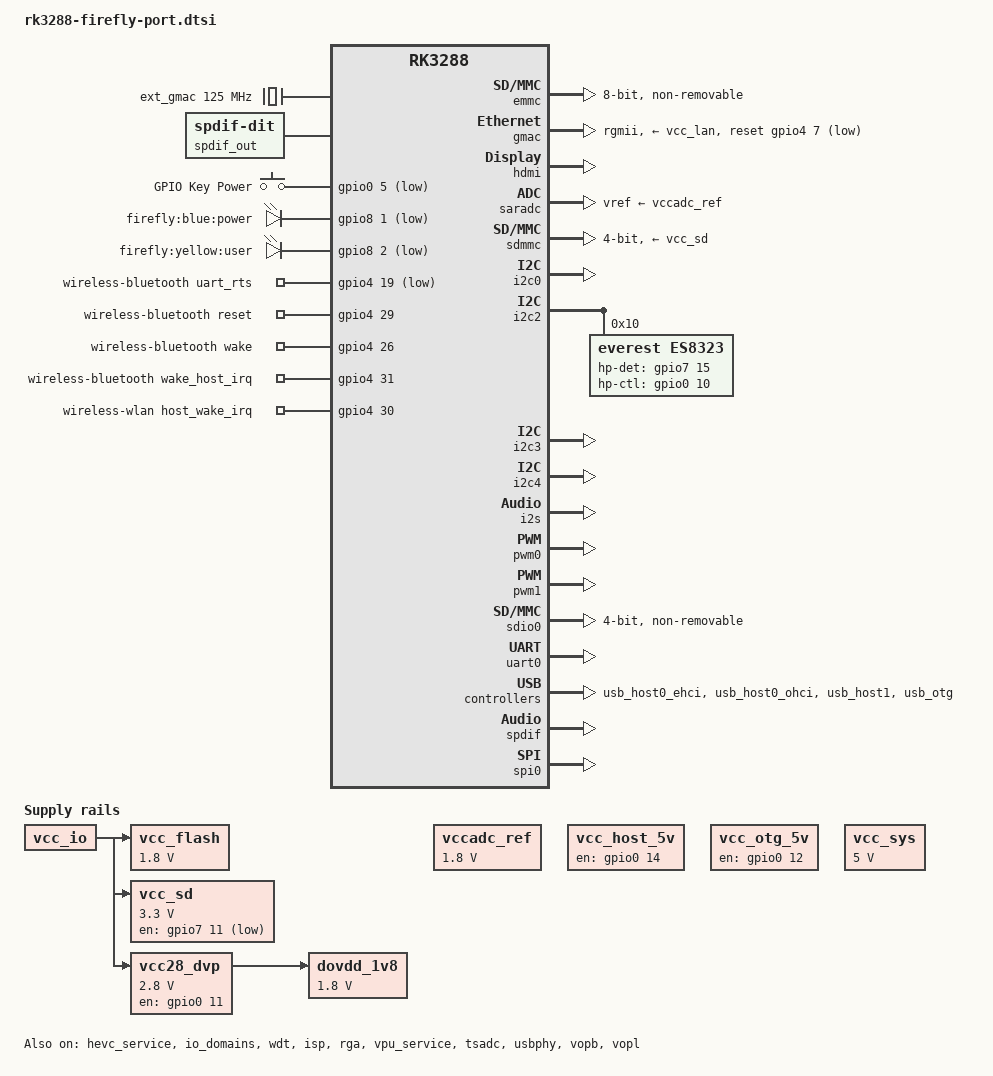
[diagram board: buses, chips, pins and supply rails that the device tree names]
/*
 * Copyright (c) 2015~2017 Fuzhou Rockchip Electronics Co., Ltd
 *
 * This file is dual-licensed: you can use it either under the terms
 * of the GPL or the X11 license, at your option. Note that this dual
 * licensing only applies to this file, and not this project as a
 * whole.
 *
 *  a) This file is free software; you can redistribute it and/or
 *     modify it under the terms of the GNU General Public License as
 *     published by the Free Software Foundation; either version 2 of the
 *     License, or (at your option) any later version.
 *
 *     This file is distributed in the hope that it will be useful,
 *     but WITHOUT ANY WARRANTY; without even the implied warranty of
 *     MERCHANTABILITY or FITNESS FOR A PARTICULAR PURPOSE.  See the
 *     GNU General Public License for more details.
 *
 * Or, alternatively,
 *
 *  b) Permission is hereby granted, free of charge, to any person
 *     obtaining a copy of this software and associated documentation
 *     files (the "Software"), to deal in the Software without
 *     restriction, including without limitation the rights to use,
 *     copy, modify, merge, publish, distribute, sublicense, and/or
 *     sell copies of the Software, and to permit persons to whom the
 *     Software is furnished to do so, subject to the following
 *     conditions:
 *
 *     The above copyright notice and this permission notice shall be
 *     included in all copies or substantial portions of the Software.
 *
 *     THE SOFTWARE IS PROVIDED "AS IS", WITHOUT WARRANTY OF ANY KIND,
 *     EXPRESS OR IMPLIED, INCLUDING BUT NOT LIMITED TO THE WARRANTIES
 *     OF MERCHANTABILITY, FITNESS FOR A PARTICULAR PURPOSE AND
 *     NONINFRINGEMENT. IN NO EVENT SHALL THE AUTHORS OR COPYRIGHT
 *     HOLDERS BE LIABLE FOR ANY CLAIM, DAMAGES OR OTHER LIABILITY,
 *     WHETHER IN AN ACTION OF CONTRACT, TORT OR OTHERWISE, ARISING
 *     FROM, OUT OF OR IN CONNECTION WITH THE SOFTWARE OR THE USE OR
 *     OTHER DEALINGS IN THE SOFTWARE.
 */

#include "rk3288.dtsi"
#include <dt-bindings/pwm/pwm.h>
#include <dt-bindings/input/input.h>

/ {
	edp_panel: edp-panel {
		status = "disabled";

		ports {
			panel_in_edp: endpoint {
				remote-endpoint = <&edp_out_panel>;
			};
		};
	};

	lvds_panel: lvds-panel {
		status = "disabled";

		ports {
			panel_in_lvds: endpoint {
				remote-endpoint = <&lvds_out_panel>;
			};
		};
	};

	sound: sound {
		status = "disabled";
		compatible = "simple-audio-card";
		simple-audio-card,format = "i2s";
		simple-audio-card,name = "rockchip,firefly-codec";
		simple-audio-card,mclk-fs = <512>;
		simple-audio-card,widgets =
			"Microphone", "Microphone Jack",
			"Headphone", "Headphone Jack";
		simple-audio-card,routing =
			"MIC1", "Microphone Jack",
			"MIC2", "Microphone Jack",
			"Microphone Jack", "micbias1",
			"Headphone Jack", "HPOL",
			"Headphone Jack", "HPOR";

		simple-audio-card,dai-link@0 {
			format = "i2s";
			cpu {
				sound-dai = <&i2s>;
			};

			codec {
				sound-dai = <&es8323>;
			};
		};

		simple-audio-card,dai-link@1 {
			format = "i2s";
			cpu {
				sound-dai = <&i2s>;
			};

			codec {
				sound-dai = <&hdmi>;
			};
		};
	};

	ext_gmac: external-gmac-clock {
		compatible = "fixed-clock";
		clock-frequency = <125000000>;
		clock-output-names = "ext_gmac";
		#clock-cells = <0>;
	};

	vccadc_ref: vccadc-ref {
		compatible = "regulator-fixed";
		regulator-name = "vcc1v8_sys";
		regulator-min-microvolt = <1800000>;
		regulator-max-microvolt = <1800000>;
		regulator-always-on;
		regulator-boot-on;
	};

	/* This turns on USB vbus for both host0 (ehci) and host1 (dwc2) */
	vcc_host_5v: usb-host-regulator {
		compatible = "regulator-fixed";
		enable-active-high;
		gpio = <&gpio0 14 GPIO_ACTIVE_HIGH>;
		pinctrl-names = "default";
		pinctrl-0 = <&host_vbus_drv>;
		regulator-name = "vcc_host_5v";
		regulator-always-on;
	};

	vcc_otg_5v: usb-otg-regulator {
		compatible = "regulator-fixed";
		enable-active-high;
		gpio = <&gpio0 12 GPIO_ACTIVE_HIGH>;
		pinctrl-names = "default";
		pinctrl-0 = <&otg_vbus_drv>;
		regulator-name = "vcc_otg_5v";
		regulator-always-on;
	};

	vcc_sys: vsys-regulator {
		compatible = "regulator-fixed";
		regulator-name = "vcc_sys";
		regulator-min-microvolt = <5000000>;
		regulator-max-microvolt = <5000000>;
		regulator-always-on;
		regulator-boot-on;
	};

	vcc_flash: flash-regulator {
		compatible = "regulator-fixed";
		regulator-name = "vcc_flash";
		regulator-min-microvolt = <1800000>;
		regulator-max-microvolt = <1800000>;
		regulator-always-on;
		regulator-boot-on;
		vin-supply = <&vcc_io>;
	};

	vcc_sd: sdmmc-regulator {
		compatible = "regulator-fixed";
		gpio = <&gpio7 11 GPIO_ACTIVE_LOW>;
		pinctrl-names = "default";
		pinctrl-0 = <&sdmmc_pwr>;
		regulator-name = "vcc_sd";
		regulator-min-microvolt = <3300000>;
		regulator-max-microvolt = <3300000>;
		startup-delay-us = <100000>;
		vin-supply = <&vcc_io>;
	};

	/*
	 * A TT8142 creates both dovdd_1v8 and vcc28_dvp, controlled
	 * by the dvp_pwr pin.
	 */
	vcc28_dvp: vcc28-dvp-regulator {
		compatible = "regulator-fixed";
		enable-active-high;
		gpio = <&gpio0 11 GPIO_ACTIVE_HIGH>;
		pinctrl-names = "default";
		pinctrl-0 = <&dvp_pwr>;
		regulator-name = "vcc28_dvp";
		regulator-min-microvolt = <2800000>;
		regulator-max-microvolt = <2800000>;
		regulator-always-on;
		vin-supply = <&vcc_io>;
	};

	dovdd_1v8: dovdd-1v8-regulator {
		compatible = "regulator-fixed";
		regulator-name = "dovdd_1v8";
		regulator-min-microvolt = <1800000>;
		regulator-max-microvolt = <1800000>;
		regulator-always-on;
		regulator-boot-on;
		vin-supply = <&vcc28_dvp>;
	};

	spdif_out: spdif-out {
		status = "okay";
		compatible = "linux,spdif-dit";
		#sound-dai-cells = <0>;
	};

	spdif-sound {
		status = "okay";
		compatible = "simple-audio-card";
		simple-audio-card,name = "ROCKCHIP,SPDIF";
		simple-audio-card,cpu {
			sound-dai = <&spdif>;
		};

		simple-audio-card,codec {
			sound-dai = <&spdif_out>;
		};
	};

	gpio-keys {
		compatible = "gpio-keys";
		#address-cells = <1>;
		#size-cells = <0>;
		autorepeat;

		pinctrl-names = "default";
		pinctrl-0 = <&pwrbtn>;

		button@0 {
			gpios = <&gpio0 5 GPIO_ACTIVE_LOW>;
			linux,code = <KEY_POWER>;
			label = "GPIO Key Power";
			linux,input-type = <1>;
			gpio-key,wakeup = <1>;
			debounce-interval = <100>;
		};
	};

	leds {
		compatible = "gpio-leds";

		work {
			label = "firefly:blue:power";
			linux,default-trigger = "ir-power-click";
			gpios = <&gpio8 1 GPIO_ACTIVE_LOW>;
			pinctrl-names = "default";
			pinctrl-0 = <&led_power>;
			default-state = "on";
		};

		user {
			label = "firefly:yellow:user";
			linux,default-trigger = "ir-user-click";
			gpios = <&gpio8 2 GPIO_ACTIVE_LOW>;
			pinctrl-names = "default";
			pinctrl-0 = <&led_user>;
			default-state = "off";
		};
	};

	wireless-bluetooth {
		compatible = "bluetooth-platdata";
		uart_rts_gpios = <&gpio4 19 GPIO_ACTIVE_LOW>;
		pinctrl-names = "default", "rts_gpio";
		pinctrl-0 = <&uart0_rts>;
		pinctrl-1 = <&uart0_gpios>;
		BT,reset_gpio    = <&gpio4 29 GPIO_ACTIVE_HIGH>;
		BT,wake_gpio     = <&gpio4 26 GPIO_ACTIVE_HIGH>;
		BT,wake_host_irq = <&gpio4 31 GPIO_ACTIVE_HIGH>;
		status = "okay";
	};

	wireless-wlan {
		compatible = "wlan-platdata";
		rockchip,grf = <&grf>;
		wifi_chip_type = "ap6212";
		sdio_vref = <1800>;
		WIFI,host_wake_irq = <&gpio4 30 GPIO_ACTIVE_HIGH>;
		status = "okay";
	};
};

&emmc {
	bus-width = <8>;
	cap-mmc-highspeed;
	disable-wp;
	non-removable;
	num-slots = <1>;
	max-frequency = <100000000>;
	mmc-hs200-1_8v;
	mmc-ddr-1_8v;
	pinctrl-names = "default";
	pinctrl-0 = <&emmc_clk &emmc_cmd &emmc_pwr &emmc_bus8>;
	status = "okay";
};

&gmac {
	phy-supply = <&vcc_lan>;
	phy-mode = "rgmii";
	clock_in_out = "input";
	snps,reset-gpio = <&gpio4 7 0>;
	snps,reset-active-low;
	snps,force_thresh_dma_mode;
	snps,reset-delays-us = <0 10000 1000000>;
	assigned-clocks = <&cru SCLK_MAC>;
	assigned-clock-parents = <&ext_gmac>;
	pinctrl-names = "default";
	pinctrl-0 = <&rgmii_pins &phy_rst &phy_pmeb &phy_int>;
	tx_delay = <0x1d>;
	rx_delay = <0x16>;
	max-speed = <100>;
	status = "ok";
};

&hdmi {
	#address-cells = <1>;
	#size-cells = <0>;
	#sound-dai-cells = <0>;
	status = "okay";
};

&saradc {
	vref-supply = <&vccadc_ref>;
	status = "okay";
};

&sdmmc {
	bus-width = <4>;
	cap-mmc-highspeed;
	sd-uhs-sdr12;
	sd-uhs-sdr25;
	sd-uhs-sdr50;
	sd-uhs-sdr104;
	cap-sd-highspeed;
	card-detect-delay = <200>;
	disable-wp;			/* wp not hooked up */
	supports-sd;
	num-slots = <1>;
	pinctrl-names = "default";
	pinctrl-0 = <&sdmmc_clk &sdmmc_cmd &sdmmc_cd &sdmmc_bus4>;
	vmmc-supply = <&vcc_sd>;
	vqmmc-supply = <&vccio_sd>;
	status = "okay";
};

&edp {
	force-hpd;
	status = "disabled";

	ports {
		edp_out: port@1 {
			reg = <1>;
			#address-cells = <1>;
			#size-cells = <0>;
			edp_out_panel: endpoint {
				reg = <0>;
				remote-endpoint = <&panel_in_edp>;
			};
		};
	};
};

&hevc_service {
	status = "okay";
};

&i2c0 {
	status = "okay";
};

&i2c2 {
	status = "okay";

	es8323: es8323@10 {
		compatible = "everest,es8323";
		reg = <0x10>;
		hp-det-gpio = <&gpio7 15 GPIO_ACTIVE_HIGH>;
		hp-ctl-gpio = <&gpio0 10 GPIO_ACTIVE_HIGH>;
		clock-names = "mclk";
		clocks = <&cru SCLK_I2S0_OUT>;
		pinctrl-names = "default";
		pinctrl-0 = <&i2s0_mclk>;
		#sound-dai-cells = <0>;
	};
};

&i2c3 {
	status = "okay";
};

&i2c4 {
	status = "okay";
};

&i2s {
	#sound-dai-cells = <0>;
	status = "okay";
};

&io_domains {
	status = "okay";

	audio-supply = <&vcca_33>;
	dvp-supply = <&dovdd_1v8>;
	flash0-supply = <&vcc_flash>;
	flash1-supply = <&vcc_lan>;
	sdcard-supply = <&vccio_sd>;
	wifi-supply = <&vcc_18>;
};

&wdt {
	status = "okay";
};

&pwm0 {
	interrupts = <GIC_SPI 78 IRQ_TYPE_LEVEL_HIGH>;
	compatible = "rockchip,remotectl-pwm";
	pinctrl-names = "default";
	remote_pwm_id = <0>;
	handle_cpu_id = <1>;
	remote_support_psci = <0>;
	status = "okay";

	ir_key1 {
        rockchip,usercode = <0xff00>;
        rockchip,key_table =
            <0xeb   KEY_POWER>,
            <0xec   KEY_COMPOSE>,
            <0xfe   KEY_BACK>,
            <0xb7   KEY_HOME>,
            <0xa3   KEY_WWW>,
            <0xf4   KEY_VOLUMEUP>,
            <0xa7   KEY_VOLUMEDOWN>,
            <0xf8   KEY_ENTER>,
            <0xfc   KEY_UP>,
            <0xfd   KEY_DOWN>,
            <0xf1   KEY_LEFT>,
            <0xe5   KEY_RIGHT>;
    };
};

&pwm1 {
	status = "okay";
};

&isp {
	status = "okay";
};

&isp_mmu {
	status = "okay";
};

&rga {
	status = "okay";
};

&sdio0 {
	clock-frequency = <50000000>;
	clock-freq-min-max = <200000 50000000>;
	bus-width = <4>;
	cap-sd-highspeed;
	cap-sdio-irq;
	disable-wp;
	keep-power-in-suspend;
	mmc-pwrseq = <&sdio_pwrseq>;
	non-removable;
	num-slots = <1>;
	pinctrl-names = "default";
	pinctrl-0 = <&sdio0_bus4 &sdio0_cmd &sdio0_clk &sdio0_int>;
	sd-uhs-sdr104;
	supports-sdio;
	status = "okay";
};

&rockchip_suspend {
	status = "okay";
};

&uart0 {
	pinctrl-names = "default";
	pinctrl-0 = <&uart0_xfer &uart0_cts>;
	status = "okay";
};

&uart2 {
	status = "disabled";
};

&vpu_service {
	status = "okay";
};

&tsadc {
	rockchip,hw-tshut-polarity = <0>; /* tshut polarity 0:LOW 1:HIGH */
	status = "okay";
};

&usbphy {
	status = "okay";
};

&usb_host0_ehci {
	rockchip-relinquish-port;
	status = "okay";
};

&usb_host0_ohci {
	status = "okay";
};

&usb_host1 {
	pinctrl-names = "default";
	pinctrl-0 = <&usbhub_rst>;
	status = "okay";
};

&usb_otg {
	status = "okay";
};

&lvds {
	status = "disabled";

	ports {
		lvds_out: port@1 {
			reg = <1>;
			#address-cells = <1>;
			#size-cells = <0>;

			lvds_out_panel: endpoint@0 {
				reg = <0>;
				remote-endpoint = <&panel_in_lvds>;
			};
		};
	};
};

&spdif {
	status = "okay";
};

&spi0 {
	status = "okay";
	max-freq = <48000000>;

	spi_wk2xxx: spi-wk2xxx@00 {
		status = "disabled";
		compatible = "firefly,spi-wk2xxx";
		reg = <0x00>;
		spi-max-frequency = <10000000>;
		power-gpio = <&gpio3 14 GPIO_ACTIVE_HIGH>;
		reset-gpio = <&gpio0 18 GPIO_ACTIVE_HIGH>;
		irq-gpio = <&gpio0 7 IRQ_TYPE_EDGE_FALLING>;
		cs-gpio = <&gpio5 13 GPIO_ACTIVE_HIGH>;
		/* spi-wk2xxx driver support SPI_CPOL | SPI_CPHA | SPI_CS_HIGH */
		//spi-cpha;     /* SPI mode: CPHA=1 */
		//spi-cpol;     /* SPI mode: CPOL=1 */
		//spi-cs-high;
	};
};

&vopb {
	status = "okay";
};

&vopb_mmu {
	status = "okay";
};

&vopl {
	status = "okay";
};

&vopl_mmu {
	status = "okay";
};

&pinctrl {
	pcfg_output_high: pcfg-output-high {
		output-high;
	};

	pcfg_output_low: pcfg-output-low {
		output-low;
	};

	pcfg_pull_none_drv_8ma: pcfg-pull-none-drv-8ma {
		drive-strength = <8>;
	};

	pcfg_pull_up_drv_8ma: pcfg-pull-up-drv-8ma {
		bias-pull-up;
		drive-strength = <8>;
	};

	act8846 {
		pmic_vsel: pmic-vsel {
			rockchip,pins = <7 14 RK_FUNC_GPIO &pcfg_output_low>;
		};

		pwr_hold: pwr-hold {
			rockchip,pins = <0 6 RK_FUNC_GPIO &pcfg_output_high>;
		};
	};

	dvp {
		dvp_pwr: dvp-pwr {
			rockchip,pins = <0 11 RK_FUNC_GPIO &pcfg_pull_none>;
		};
	};

	gmac {
		phy_int: phy-int {
			rockchip,pins = <0 9 RK_FUNC_GPIO &pcfg_pull_up>;
		};

		phy_pmeb: phy-pmeb {
			rockchip,pins = <0 8 RK_FUNC_GPIO &pcfg_pull_up>;
		};

		phy_rst: phy-rst {
			rockchip,pins = <4 8 RK_FUNC_GPIO &pcfg_output_high>;
		};
	};

	hym8563 {
		rtc_int: rtc-int {
			rockchip,pins = <7 4 RK_FUNC_GPIO &pcfg_pull_up>;
		};
	};

	buttons {
		pwrbtn: pwrbtn {
			rockchip,pins = <0 5 RK_FUNC_GPIO &pcfg_pull_up>;
		};
	};

	leds {
		led_power: led-power {
			rockchip,pins = <8 1 RK_FUNC_GPIO &pcfg_pull_none>;
		};

		led_user: led-work {
			rockchip,pins = <8 2 RK_FUNC_GPIO &pcfg_pull_none>;
		};
	};

	sdio-pwrseq {
		wifi_enable_h: wifi-enable-h {
			rockchip,pins = <4 28 RK_FUNC_GPIO &pcfg_pull_none>;
		};
	};

	sdmmc {
		/*
		 * Default drive strength isn't enough to achieve even
		 * high-speed mode on firefly board so bump up to 8ma.
		 */
		sdmmc_bus4: sdmmc-bus4 {
			rockchip,pins = <6 16 RK_FUNC_1 &pcfg_pull_up_drv_8ma>,
					<6 17 RK_FUNC_1 &pcfg_pull_up_drv_8ma>,
					<6 18 RK_FUNC_1 &pcfg_pull_up_drv_8ma>,
					<6 19 RK_FUNC_1 &pcfg_pull_up_drv_8ma>;
		};

		sdmmc_clk: sdmmc-clk {
			rockchip,pins = <6 20 RK_FUNC_1 &pcfg_pull_none_drv_8ma>;
		};

		sdmmc_cmd: sdmmc-cmd {
			rockchip,pins = <6 21 RK_FUNC_1 &pcfg_pull_up_drv_8ma>;
		};

		sdmmc_pwr: sdmmc-pwr {
			rockchip,pins = <7 11 RK_FUNC_GPIO &pcfg_pull_none>;
		};
	};

	usb_host {
		host_vbus_drv: host-vbus-drv {
			rockchip,pins = <0 14 RK_FUNC_GPIO &pcfg_pull_none>;
		};

		usbhub_rst: usbhub-rst {
			rockchip,pins = <8 3 RK_FUNC_GPIO &pcfg_output_high>;
		};
	};

	usb_otg {
		otg_vbus_drv: otg-vbus-drv {
			rockchip,pins = <0 12 RK_FUNC_GPIO &pcfg_pull_none>;
		};
	};

	wireless-bluetooth {
		uart0_gpios: uart0-gpios {
			rockchip,pins = <4 19 RK_FUNC_GPIO &pcfg_pull_none>;
		};
	};
};
